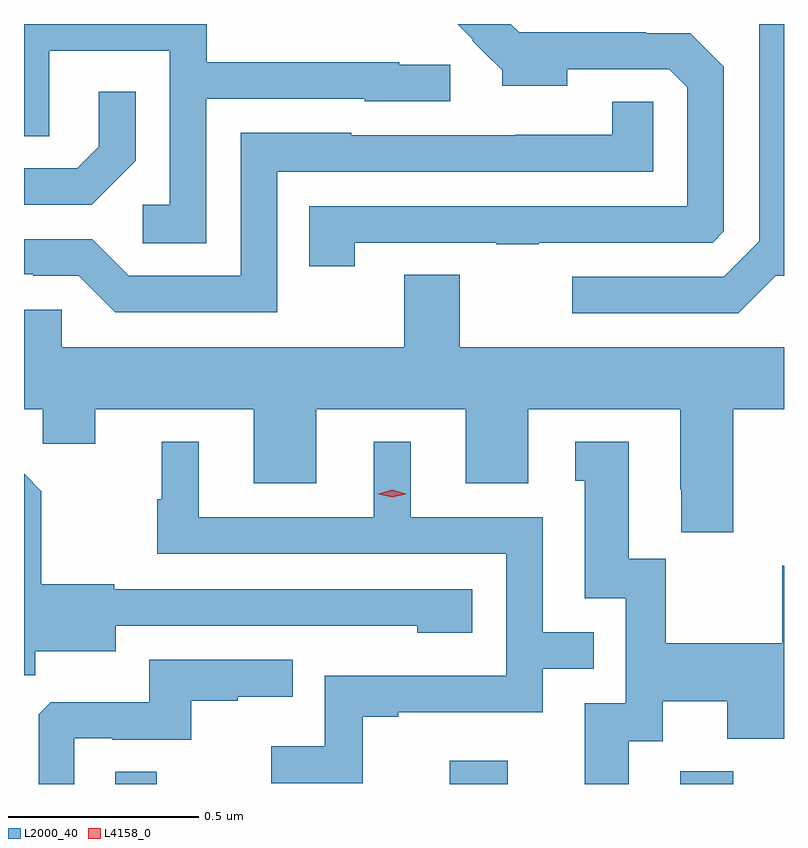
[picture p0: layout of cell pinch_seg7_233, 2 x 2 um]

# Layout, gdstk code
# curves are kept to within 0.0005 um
import gdstk
lib = gdstk.Library(unit=1e-6, precision=1e-09)
def R(c, l, rs):  # rectangles x0, y0, x1, y1
    for r in rs: c.add(gdstk.rectangle(r[:2], r[2:], *l))
def P(c, l, *ps):  # polygons
    for p in ps: c.add(gdstk.Polygon(p, *l))
L2000_40 = (2000, 40)
L4158_0 = (4158, 0)

pinch_seg7_233 = lib.new_cell('pinch_seg7_233')
R(pinch_seg7_233, L2000_40, [(637.038,1051.578,637.147,1051.61), (637.919,1051.578,638.071,1051.639), (638.525,1051.578,638.665,1051.612)])
P(pinch_seg7_233, L2000_40, [(637.668,1053.003),(638.041,1053.003),(638.041,1052.998),(638.153,1052.998),(638.153,1053.003),(638.61,1053.003),(638.64,1053.033),(638.64,1053.465),(638.551,1053.554),(638.435,1053.554),(638.435,1053.556),(638.101,1053.556),(638.079,1053.578),(637.94,1053.578),(637.98,1053.537),(637.977,1053.534),(638.056,1053.456),(638.056,1053.416),(638.227,1053.416),(638.227,1053.459),(638.496,1053.459),(638.544,1053.411),(638.544,1053.099),(637.549,1053.099),(637.549,1052.94),(637.668,1052.94)],
  [(637.278,1053.381),(637.695,1053.381),(637.695,1053.375),(637.92,1053.375),(637.92,1053.471),(637.785,1053.471),(637.785,1053.478),(637.279,1053.478),(637.279,1053.578),(636.798,1053.578),(636.798,1053.283),(636.864,1053.283),(636.864,1053.507),(637.182,1053.507),(637.182,1053.102),(637.11,1053.102),(637.11,1053.001),(637.278,1053.001)],
  [(638.776,1052.916),(638.798,1052.916),(638.798,1053.578),(638.733,1053.578),(638.733,1053.006),(638.64,1052.913),(638.241,1052.913),(638.241,1052.817),(638.677,1052.817)],
  [(637.092,1053.218),(637.092,1053.4),(636.995,1053.4),(636.995,1053.255),(636.938,1053.198),(636.798,1053.198),(636.798,1053.102),(636.976,1053.102)],
  [(637.464,1053.189),(638.454,1053.189),(638.454,1053.374),(638.346,1053.374),(638.346,1053.286),(638.091,1053.286),(638.091,1053.285),(637.659,1053.285),(637.659,1053.292),(637.368,1053.292),(637.368,1052.916),(637.074,1052.916),(636.978,1053.012),(636.798,1053.012),(636.798,1052.919),(636.822,1052.919),(636.822,1052.916),(636.942,1052.916),(637.038,1052.82),(637.464,1052.82)],
  [(638.665,1052.564),(638.798,1052.564),(638.798,1052.728),(637.945,1052.728),(637.945,1052.918),(637.798,1052.918),(637.798,1052.728),(636.897,1052.728),(636.897,1052.826),(636.798,1052.826),(636.798,1052.564),(636.847,1052.564),(636.847,1052.474),(636.985,1052.474),(636.985,1052.564),(637.403,1052.564),(637.403,1052.37),(637.567,1052.37),(637.567,1052.564),(637.961,1052.564),(637.961,1052.37),(638.125,1052.37),(638.125,1052.564),(638.525,1052.564),(638.525,1052.353),(638.528,1052.353),(638.528,1052.241),(638.665,1052.241)],
  [(637.689,1051.755),(637.783,1051.755),(637.783,1051.767),(638.163,1051.767),(638.163,1051.881),(638.297,1051.881),(638.297,1051.977),(638.163,1051.977),(638.163,1052.28),(637.816,1052.28),(637.816,1052.479),(637.718,1052.479),(637.718,1052.28),(637.258,1052.28),(637.258,1052.479),(637.16,1052.479),(637.16,1052.328),(637.149,1052.328),(637.149,1052.184),(638.067,1052.184),(638.067,1051.863),(637.59,1051.863),(637.59,1051.678),(637.449,1051.678),(637.449,1051.58),(637.689,1051.58)],
  [(638.389,1051.69),(638.479,1051.69),(638.479,1051.796),(638.648,1051.796),(638.648,1051.697),(638.798,1051.697),(638.798,1052.153),(638.794,1052.153),(638.794,1051.948),(638.487,1051.948),(638.487,1052.171),(638.389,1052.171),(638.389,1052.479),(638.249,1052.479),(638.249,1052.376),(638.273,1052.376),(638.273,1052.067),(638.382,1052.067),(638.382,1051.791),(638.273,1051.791),(638.273,1051.578),(638.389,1051.578)],
  [(636.828,1051.928),(637.039,1051.928),(637.039,1051.995),(637.597,1051.995),(637.597,1051.994),(637.833,1051.994),(637.833,1051.976),(637.978,1051.976),(637.978,1052.091),(637.035,1052.091),(637.035,1052.104),(636.843,1052.104),(636.843,1052.349),(636.798,1052.394),(636.798,1051.864),(636.828,1051.864)],
  [(636.93,1051.698),(637.03,1051.698),(637.03,1051.695),(637.238,1051.695),(637.238,1051.797),(637.361,1051.797),(637.361,1051.808),(637.505,1051.808),(637.505,1051.905),(637.128,1051.905),(637.128,1051.793),(636.869,1051.793),(636.837,1051.761),(636.837,1051.578),(636.93,1051.578)])
P(pinch_seg7_233, L4158_0, [(637.767,1052.332),(637.731,1052.341),(637.731,1052.342),(637.731,1052.342),(637.767,1052.352),(637.803,1052.342),(637.803,1052.342),(637.803,1052.341)])

lib.write_gds('pinch_seg7_233.gds')
